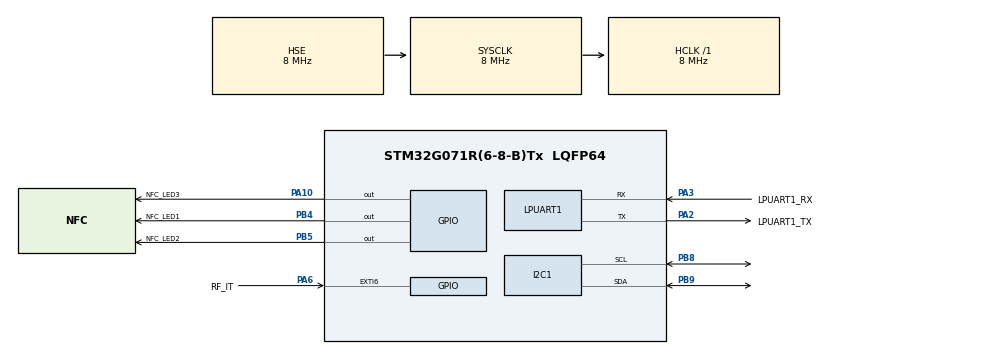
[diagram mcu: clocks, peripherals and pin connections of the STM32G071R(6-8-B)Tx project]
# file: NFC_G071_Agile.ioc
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I2C1.Timing=0x2000090E
Mcu.Family=STM32G0
Mcu.Name=STM32G071R(6-8-B)Tx
Mcu.Package=LQFP64
NVIC.EXTI4_15_IRQn=true\:1\:0\:true\:true\:true\:1\:true\:true
PA10.GPIO_Label=NFC_LED3
PA10.Signal=GPIO_Output
PA13.GPIO_Label=TMS
PA13.Mode=Serial_Wire
PA13.Signal=SYS_SWDIO
PA14-BOOT0.GPIO_Label=TCK
PA14-BOOT0.Mode=Serial_Wire
PA14-BOOT0.Signal=SYS_SWCLK
PA2.GPIO_Label=LPUART1_TX
PA2.Mode=Asynchronous
PA2.Signal=LPUART1_TX
PA3.GPIO_Label=LPUART1_RX
PA3.Mode=Asynchronous
PA3.Signal=LPUART1_RX
PA6.GPIO_Label=RF_IT
PA6.GPIO_ModeDefaultEXTI=GPIO_MODE_IT_FALLING
PA6.Signal=GPXTI6
PB4.GPIO_Label=NFC_LED1
PB4.Signal=GPIO_Output
PB5.GPIO_Label=NFC_LED2
PB5.Signal=GPIO_Output
PB8.Mode=I2C
PB8.Signal=I2C1_SCL
PB9.Mode=I2C
PB9.Signal=I2C1_SDA
PC13.Mode=SYS_WakeUp1
PC13.Signal=SYS_WKUP2
PC14-OSC32_IN\ (PC14).Mode=LSE-External-Oscillator
PC14-OSC32_IN\ (PC14).Signal=RCC_OSC32_IN
PC15-OSC32_OUT\ (PC15).Mode=LSE-External-Oscillator
PC15-OSC32_OUT\ (PC15).Signal=RCC_OSC32_OUT
PF0-OSC_IN\ (PF0).GPIO_Label=MCO
PF0-OSC_IN\ (PF0).Mode=HSE-External-Clock-Source
PF0-OSC_IN\ (PF0).Signal=RCC_OSC_IN
ProjectManager.HeapSize=0x200
ProjectManager.StackSize=0x400
ProjectManager.TargetToolchain=STM32CubeIDE
RCC.ADCFreq_Value=8000000
RCC.AHBFreq_Value=8000000
RCC.CortexFreq_Value=8000000
RCC.EXTERNAL_CLOCK_VALUE=12288000
RCC.HCLKFreq_Value=8000000
RCC.HSE_VALUE=8000000
RCC.HSI_VALUE=16000000
RCC.SYSCLKFreq_VALUE=8000000
RCC.SYSCLKSource=RCC_SYSCLKSOURCE_HSE
RCC.VCOOutputFreq_Value=128000000
board=NUCLEO-G071RB

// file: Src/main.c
/* USER CODE BEGIN Header */
/**
  ******************************************************************************
  * @file           : main.c
  * @brief          : Main program body
  ******************************************************************************
  * @attention
  *
  * <h2><center>&copy; Copyright (c) 2019 STMicroelectronics.
  * All rights reserved.</center></h2>
  *
  * This software component is licensed by ST under BSD 3-Clause license,
  * the "License"; You may not use this file except in compliance with the
  * License. You may obtain a copy of the License at:
  *                        opensource.org/licenses/BSD-3-Clause
  *
  ******************************************************************************
  */
/* USER CODE END Header */

#include "main.h"

/* USER CODE BEGIN Includes */
#include "stdint.h"
#include "nfc.h"
#include "i2c.h"
#include "ndef.h"
/* USER CODE END Includes */

I2C_HandleTypeDef hi2c1;

UART_HandleTypeDef hlpuart1;

void SystemClock_Config(void);
static void MX_GPIO_Init(void);
static void MX_I2C1_Init(void);
static void MX_LPUART1_UART_Init(void);
static void MX_NVIC_Init(void);

int main(void)
{

  /* MCU Configuration--------------------------------------------------------*/

  /* Reset of all peripherals, Initializes the Flash interface and the Systick. */
  HAL_Init();

  /* Configure the system clock */
  SystemClock_Config();

  /* Initialize all configured peripherals */
  MX_GPIO_Init();
  MX_I2C1_Init();
  MX_LPUART1_UART_Init();

  /* Initialize interrupts */
  MX_NVIC_Init();
  /* USER CODE BEGIN 2 */

  uint8_t buffer[6];
  buffer[0]= 0x4c;	//L
  buffer[1]= 0x4f;	//O
  buffer[2]= 0x55;	//U
  buffer[3]= 0x49;	//I
  buffer[4]= 0x53;	//S
  buffer[5]= 0x31;	//1
  uint8_t buffer1[6];
  buffer1[0]= 0x48;	//H
  buffer1[1]= 0x45;	//E
  buffer1[2]= 0x4c;	//L
  buffer1[3]= 0x4c;	//L
  buffer1[4]= 0x4f;	//O
  buffer1[5]= 0x33;	//3
  uint8_t buffer2[13];
  buffer2[0] = 0x50; //P
  buffer2[1] = 0x61; //a
  buffer2[2] = 0x63; //c
  buffer2[3] = 0x69; //i
  buffer2[4] = 0x66; //f
  buffer2[5] = 0x69; //i
  buffer2[6] = 0x63; //c
  buffer2[7] = 0x20; //
  buffer2[8] = 0x6f; //o
  buffer2[9] = 0x63; //c
  buffer2[10] = 0x65; //e
  buffer2[11] = 0x61; //a
  buffer2[12] = 0x6e; //n
  //uint8_t oldPassword[8] = {0x07,0x07,0x07,0x07,0x08,0x08,0x08,0x08};
  uint8_t password[8] = {0x00,0x00,0x00,0x00,0x00,0x00,0x00,0x01};
  uint8_t received[256];
  // test1[8];
  uint8_t test2[4];
  //uint8_t ENDA[3];
  //uint8_t I2CsecurityStatus[1];
  uint8_t data[1];

  //ndef message array - link
  char protocol[20] = "https://www.";
  char link[30] = "youtube.com";
  char info[30] = "Video Web";
  //ndef message array of "file"
  char protocol1[30] = "file://";
  char link1[150] = "/storage/9016-4EF8/DCIM/Camera/nfc.jpg";
  char info1[30] = "";
  //ndef message array of "tel:"
  char protocol2[30] = "tel::";
  char link2[50] = "01121312856";
  char info2[30] = "";
  //ndef message array of mailto:
  char email[30] = "kahlok0424@gmail.com";
  char subject[10] = "Test";
  char body[65] = "hello world we are the world, test sending email with content";
  //ndef message array of launch android apps
  char appName[50] = "com.supercell.clashofclans";

  //initNFC(&hi2c1, NFC_USERMEMORY);
  HAL_GPIO_WritePin(NFC_LED1_GPIO_Port,NFC_LED1_Pin,0);
  //disableMailBox(password);
  //setDefaultArea(password);
  //i2CWriteProtectUserArea(password, NO_WRITEPROTECT);
  //writeURI(protocol,link,info);
  //writeURI(protocol1,link1,info1);
  //writeURI(protocol2,link2,info2);
  //writeLaunchApp(appName);
  writeMailto(email,subject,body);
  //writeT5TCCFile(ONE_BYTE_ADDRESSING,512);
  //setArea(password, 4,NA,NA);
  //setArea(password, 2,4,6);
  //rfWriteProtectUserArea(password,RFAREA_WRITEFORBIDDEN,RFAREA_NOPROTECT,RFAREA_WRITEPROTECT,RFAREA_WRITEPROTECT);
  //i2CWriteProtectUserArea(password, AREA1_WRITEPROTECT|AREA2_WRITEPROTECT);
  /*readSystemMemory(I2CSS, data,1);
  configFastTransferMode(password, FTM_ENABLE, 0x00);
  writeUserMemory(0x66,buffer,5);
  readDatafromMailbox(0x2008,received,30);
  resetMailBox();
  readDatafromMailbox(0x2008,received, 30);
  writeDatatoMailbox(buffer2,13);
  writeDatatoMailbox(buffer1,5);
  getMailBoxMessage(received);*/
  //readDatafromMailbox(0x2018,received, 30);
  //NFC04A1_setRFMode(password,RF_ENABLE);
  //enableMailBox(password);
  //configFastTransferMode(password, FTM_ENABLE, 0x00);
  //getMailBoxMessage(received);
  HAL_Delay(50);
  //enableInterrupt(password);
  //configureInterrupt(password,RF_PUT_MSG_EN|GPO_EN);

  /* USER CODE END 2 */

  /* Infinite loop */
  while (1)
  {

    /* USER CODE BEGIN 3 */
	  //waitRFReadMessage();
  }
  /* USER CODE END 3 */
}

void SystemClock_Config(void)
{
  RCC_OscInitTypeDef RCC_OscInitStruct = {0};
  RCC_ClkInitTypeDef RCC_ClkInitStruct = {0};
  RCC_PeriphCLKInitTypeDef PeriphClkInit = {0};

  /** Configure the main internal regulator output voltage
  */
  HAL_PWREx_ControlVoltageScaling(PWR_REGULATOR_VOLTAGE_SCALE1);
  /** Initializes the CPU, AHB and APB busses clocks
  */
  RCC_OscInitStruct.OscillatorType = RCC_OSCILLATORTYPE_HSE;
  RCC_OscInitStruct.HSEState = RCC_HSE_BYPASS;
  RCC_OscInitStruct.PLL.PLLState = RCC_PLL_NONE;
  if (HAL_RCC_OscConfig(&RCC_OscInitStruct) != HAL_OK)
  {
    Error_Handler();
  }
  /** Initializes the CPU, AHB and APB busses clocks
  */
  RCC_ClkInitStruct.ClockType = RCC_CLOCKTYPE_HCLK|RCC_CLOCKTYPE_SYSCLK
                              |RCC_CLOCKTYPE_PCLK1;
  RCC_ClkInitStruct.SYSCLKSource = RCC_SYSCLKSOURCE_HSE;
  RCC_ClkInitStruct.AHBCLKDivider = RCC_SYSCLK_DIV1;
  RCC_ClkInitStruct.APB1CLKDivider = RCC_HCLK_DIV1;

  if (HAL_RCC_ClockConfig(&RCC_ClkInitStruct, FLASH_LATENCY_0) != HAL_OK)
  {
    Error_Handler();
  }
  /** Initializes the peripherals clocks
  */
  PeriphClkInit.PeriphClockSelection = RCC_PERIPHCLK_LPUART1|RCC_PERIPHCLK_I2C1;
  PeriphClkInit.Lpuart1ClockSelection = RCC_LPUART1CLKSOURCE_PCLK1;
  PeriphClkInit.I2c1ClockSelection = RCC_I2C1CLKSOURCE_PCLK1;
  if (HAL_RCCEx_PeriphCLKConfig(&PeriphClkInit) != HAL_OK)
  {
    Error_Handler();
  }
}

/**
  * @brief NVIC Configuration.
  * @retval None
  */
static void MX_NVIC_Init(void)
{
  /* EXTI4_15_IRQn interrupt configuration */
  HAL_NVIC_SetPriority(EXTI4_15_IRQn, 1, 0);
  HAL_NVIC_EnableIRQ(EXTI4_15_IRQn);
}

static void MX_I2C1_Init(void)
{

  hi2c1.Instance = I2C1;
  hi2c1.Init.Timing = 0x2000090E;
  hi2c1.Init.OwnAddress1 = 0;
  hi2c1.Init.AddressingMode = I2C_ADDRESSINGMODE_7BIT;
  hi2c1.Init.DualAddressMode = I2C_DUALADDRESS_DISABLE;
  hi2c1.Init.OwnAddress2 = 0;
  hi2c1.Init.OwnAddress2Masks = I2C_OA2_NOMASK;
  hi2c1.Init.GeneralCallMode = I2C_GENERALCALL_DISABLE;
  hi2c1.Init.NoStretchMode = I2C_NOSTRETCH_DISABLE;
  if (HAL_I2C_Init(&hi2c1) != HAL_OK)
  {
    Error_Handler();
  }
  /** Configure Analogue filter
  */
  if (HAL_I2CEx_ConfigAnalogFilter(&hi2c1, I2C_ANALOGFILTER_ENABLE) != HAL_OK)
  {
    Error_Handler();
  }
  /** Configure Digital filter
  */
  if (HAL_I2CEx_ConfigDigitalFilter(&hi2c1, 0) != HAL_OK)
  {
    Error_Handler();
  }

}

static void MX_LPUART1_UART_Init(void)
{

  hlpuart1.Instance = LPUART1;
  hlpuart1.Init.BaudRate = 209700;
  hlpuart1.Init.WordLength = UART_WORDLENGTH_7B;
  hlpuart1.Init.StopBits = UART_STOPBITS_1;
  hlpuart1.Init.Parity = UART_PARITY_NONE;
  hlpuart1.Init.Mode = UART_MODE_TX_RX;
  hlpuart1.Init.HwFlowCtl = UART_HWCONTROL_NONE;
  hlpuart1.Init.OneBitSampling = UART_ONE_BIT_SAMPLE_DISABLE;
  hlpuart1.Init.ClockPrescaler = UART_PRESCALER_DIV1;
  hlpuart1.AdvancedInit.AdvFeatureInit = UART_ADVFEATURE_NO_INIT;
  hlpuart1.FifoMode = UART_FIFOMODE_DISABLE;
  if (HAL_UART_Init(&hlpuart1) != HAL_OK)
  {
    Error_Handler();
  }
  if (HAL_UARTEx_SetTxFifoThreshold(&hlpuart1, UART_TXFIFO_THRESHOLD_1_8) != HAL_OK)
  {
    Error_Handler();
  }
  if (HAL_UARTEx_SetRxFifoThreshold(&hlpuart1, UART_RXFIFO_THRESHOLD_1_8) != HAL_OK)
  {
    Error_Handler();
  }
  if (HAL_UARTEx_DisableFifoMode(&hlpuart1) != HAL_OK)
  {
    Error_Handler();
  }

}

static void MX_GPIO_Init(void)
{
  GPIO_InitTypeDef GPIO_InitStruct = {0};

  /* GPIO Ports Clock Enable */
  __HAL_RCC_GPIOC_CLK_ENABLE();
  __HAL_RCC_GPIOF_CLK_ENABLE();
  __HAL_RCC_GPIOA_CLK_ENABLE();
  __HAL_RCC_GPIOB_CLK_ENABLE();

  /*Configure GPIO pin Output Level */
  HAL_GPIO_WritePin(NFC_LED3_GPIO_Port, NFC_LED3_Pin, GPIO_PIN_RESET);

  /*Configure GPIO pin Output Level */
  HAL_GPIO_WritePin(GPIOB, NFC_LED1_Pin|NFC_LED2_Pin, GPIO_PIN_RESET);

  /*Configure GPIO pin : RF_IT_Pin */
  GPIO_InitStruct.Pin = RF_IT_Pin;
  GPIO_InitStruct.Mode = GPIO_MODE_IT_FALLING;
  GPIO_InitStruct.Pull = GPIO_NOPULL;
  HAL_GPIO_Init(RF_IT_GPIO_Port, &GPIO_InitStruct);

  /*Configure GPIO pin : NFC_LED3_Pin */
  GPIO_InitStruct.Pin = NFC_LED3_Pin;
  GPIO_InitStruct.Mode = GPIO_MODE_OUTPUT_PP;
  GPIO_InitStruct.Pull = GPIO_NOPULL;
  GPIO_InitStruct.Speed = GPIO_SPEED_FREQ_LOW;
  HAL_GPIO_Init(NFC_LED3_GPIO_Port, &GPIO_InitStruct);

  /*Configure GPIO pins : NFC_LED1_Pin NFC_LED2_Pin */
  GPIO_InitStruct.Pin = NFC_LED1_Pin|NFC_LED2_Pin;
  GPIO_InitStruct.Mode = GPIO_MODE_OUTPUT_PP;
  GPIO_InitStruct.Pull = GPIO_NOPULL;
  GPIO_InitStruct.Speed = GPIO_SPEED_FREQ_LOW;
  HAL_GPIO_Init(GPIOB, &GPIO_InitStruct);

}

void Error_Handler(void)
{
}

/************************ (C) COPYRIGHT STMicroelectronics *****END OF FILE****/
